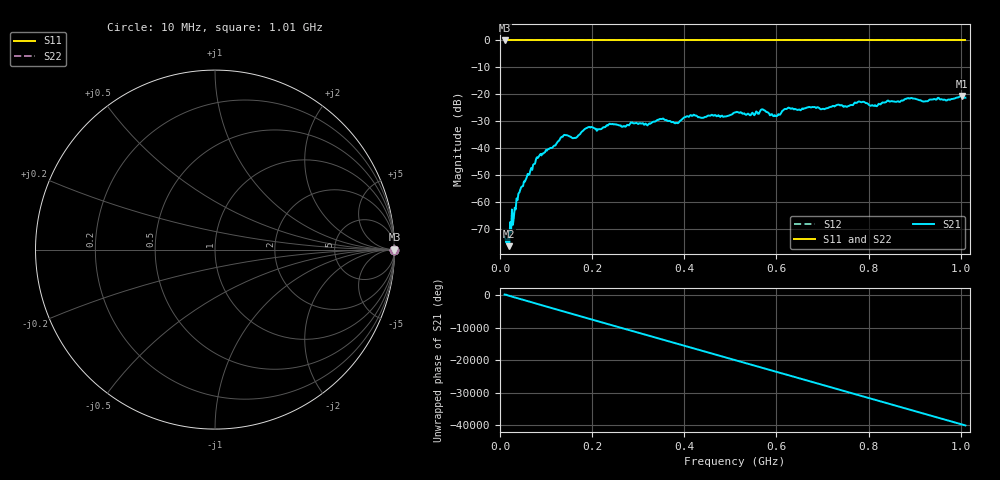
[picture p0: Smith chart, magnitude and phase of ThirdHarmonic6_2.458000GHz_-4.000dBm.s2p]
! 8/17/2025 4:26:09 AM
! C:\ANRITSUVNA\TEMP\TEMP.S2P
! CHANNEL.1
! TR.MEASUREMENT
! RAW.DATA
! RF.CORRECTION.OFF
! AVERAGING.OFF
! IF.BANDWIDTH: 5KHZ
! SWEEPTYPE:  FREQ.SWEEP(Linear)
! Reference Plane Port Info
! PORT:  PORT1  PORT2
! DISTANCE:  0  m  0  m
! TIME:  0  s  0  s
! PHASE.OFFSET:  0  deg.  0  deg.
! LOSS:  0  dB  0  dB
! REF.LOSS:  0  dB  0  dB
! REF.FREQ:  0  Hz  0  Hz
! Power Info
! POWER:  -20  dBm  -20  dBm
! EFF.POWER:  -20  dBm  -20  dBm
! SOURCE.ATTEN:  0  dB  0  dB
! TEST.ATTEN:  0  dB  0  dB
# GHZ S RI R 50.0
! FREQ.GHZ  S11RE  S11IM  S21RE  S21IM  S12RE  S12IM  S22RE  S22IM
!; PortSelection: Port_12
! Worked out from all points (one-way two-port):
!   501 points, 10 MHz to 1.01 GHz, reference 50 ohm
!   highest |S21| = -20.55 dB at 1.002 GHz (marker M1); lowest = -76.2 dB at 20 MHz (marker M2)
!   lowest |S11| = 0.0 dB at 10 MHz (marker M3)
!   |S11| at or under -10 dB: nowhere
!   |S22| runs from 0.0 to 0.0 dB; largest |S21 - S12| = 1.1
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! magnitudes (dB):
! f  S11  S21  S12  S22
! 10 MHz  0.0  -72.7  0.0  0.0
! 16 MHz  0.0  -74.0  0.0  0.0
! 20 MHz  0.0  -76.2  0.0  0.0
! 40 MHz  0.0  -56.7  0.0  0.0
! 82 MHz  0.0  -43.5  0.0  0.0
! 136 MHz  0.0  -35.7  0.0  0.0
! 162 MHz  0.0  -36.1  0.0  0.0
! 178 MHz  0.0  -33.7  0.0  0.0
! 344 MHz  0.0  -29.4  0.0  0.0
! 384 MHz  0.0  -30.6  0.0  0.0
! 416 MHz  0.0  -27.9  0.0  0.0
! 510 MHz  0.0  -26.7  0.0  0.0
! 548 MHz  0.0  -26.8  0.0  0.0
! 570 MHz  0.0  -25.5  0.0  0.0
! 598 MHz  0.0  -28.0  0.0  0.0
! 622 MHz  0.0  -25.4  0.0  0.0
! 678 MHz  0.0  -24.7  0.0  0.0
! 782 MHz  0.0  -22.8  0.0  0.0
! 814 MHz  0.0  -24.0  0.0  0.0
! 844 MHz  0.0  -22.5  0.0  0.0
! 1.002 GHz  0.0  -20.6  0.0  0.0
! 1.01 GHz  0.0  -21.2  0.0  0.0
